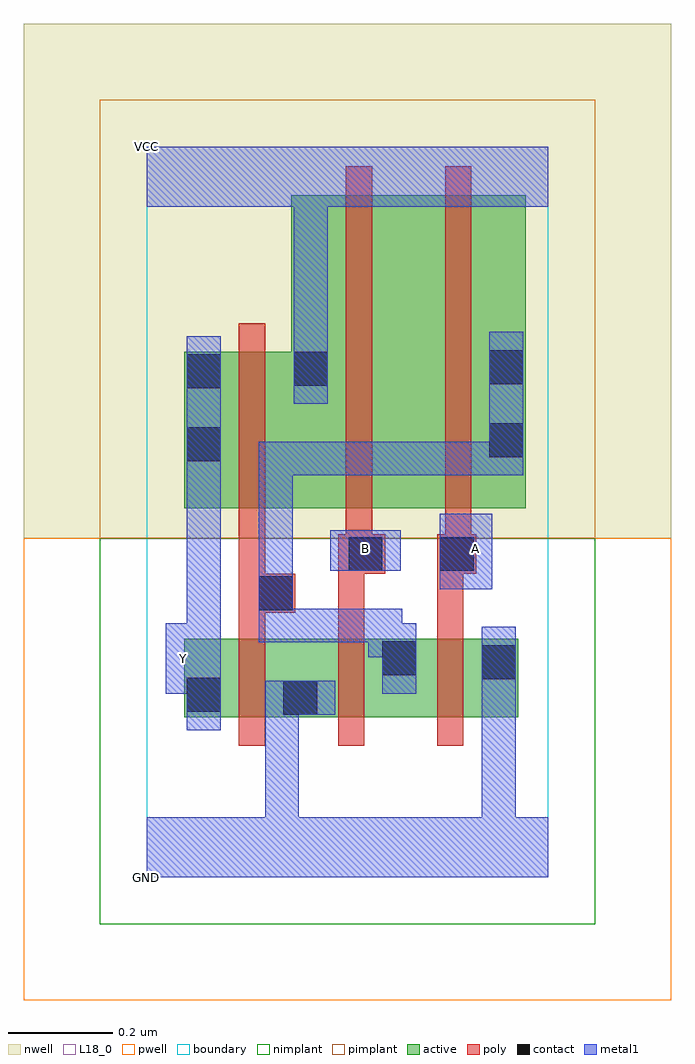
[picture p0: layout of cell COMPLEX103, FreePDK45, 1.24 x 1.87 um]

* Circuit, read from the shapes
.subckt COMPLEX103 A B GND VCC Y
M1 GND n1 Y VSUBS nfet w=0.15u l=0.05u
M2 n1 B GND VSUBS nfet w=0.15u l=0.05u
M3 GND A n1 VSUBS nfet w=0.15u l=0.05u
M4 VCC n1 Y n2 pfet w=0.3u l=0.05u
M5 n3 B VCC n2 pfet w=0.6u l=0.05u
M6 n1 A n3 n2 pfet w=0.6u l=0.05u
.ends

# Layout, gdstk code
import gdstk
lib = gdstk.Library(unit=1e-6, precision=1e-09)
def R(c, l, rs):  # rectangles x0, y0, x1, y1
    for r in rs: c.add(gdstk.rectangle(r[:2], r[2:], *l))
def A(c, l, x, y, w, h, nx, ny, dx, dy):  # array of equal rectangles
    R(c, l, [(x+i*dx, y+j*dy, x+i*dx+w, y+j*dy+h) for i in range(nx) for j in range(ny)])
active = (1, 0)
pwell = (2, 0)
nwell = (3, 0)
nimplant = (4, 0)
pimplant = (5, 0)
poly = (9, 0)
contact = (10, 0)
metal1 = (11, 0)
L18_0 = (18, 0)
boundary = (235, 0)

complex103 = lib.new_cell('COMPLEX103')
R(complex103, active, [(0.072,0.307,0.147,0.457), (0.072,0.307,0.332,0.457), (0.257,0.307,0.522,0.457), (0.257,0.307,0.332,0.397), (0.447,0.307,0.522,0.457), (0.447,0.307,0.712,0.457), (0.637,0.307,0.712,0.457), (0.072,0.707,0.352,1.007), (0.072,0.707,0.147,1.007), (0.277,0.707,0.502,1.307), (0.277,0.707,0.352,1.012), (0.502,0.707,0.727,1.307), (0.652,0.707,0.727,1.2)])
R(complex103, pwell, [(-0.235,-0.235,1.005,0.65)])
R(complex103, nwell, [(-0.235,0.65,1.005,1.635)])
R(complex103, nimplant, [(-0.09,-0.09,0.86,0.65)])
R(complex103, pimplant, [(-0.09,0.65,0.86,1.49)])
A(complex103, poly, 0.177, 0.252, 0.05, 0.26, 3, 1, 0.19, 0)
R(complex103, poly, [(0.177,0.462,0.227,0.557), (0.367,0.462,0.417,0.632), (0.557,0.462,0.607,0.632), (0.177,0.507,0.285,0.582), (0.177,0.532,0.227,0.702), (0.367,0.582,0.457,0.657), (0.557,0.582,0.632,0.657), (0.382,0.607,0.432,0.702), (0.572,0.607,0.622,0.702), (0.177,0.652,0.227,1.062), (0.382,0.652,0.432,1.362), (0.572,0.652,0.622,1.362)])
R(complex103, contact, [(0.262,0.312,0.327,0.377), (0.077,0.317,0.142,0.382), (0.642,0.38,0.707,0.445), (0.452,0.387,0.517,0.452), (0.215,0.512,0.28,0.577), (0.387,0.587,0.452,0.652), (0.562,0.587,0.627,0.652), (0.077,0.797,0.142,0.862), (0.657,0.805,0.722,0.87), (0.077,0.937,0.142,1.002), (0.282,0.942,0.347,1.007), (0.657,0.945,0.722,1.01)])
R(complex103, metal1, [(0,0,0.77,0.115), (0.227,0.05,0.292,0.115), (0.227,0.05,0.292,0.115), (0.227,0.05,0.292,0.377), (0.642,0.05,0.707,0.115), (0.642,0.05,0.707,0.115), (0.642,0.05,0.707,0.115), (0.642,0.05,0.707,0.115), (0.642,0.05,0.707,0.41), (0.077,0.282,0.142,0.417), (0.227,0.312,0.292,0.377), (0.227,0.312,0.292,0.377), (0.227,0.312,0.362,0.377), (0.642,0.345,0.707,0.48), (0.037,0.352,0.142,0.487), (0.077,0.352,0.142,0.417), (0.452,0.352,0.517,0.487), (0.077,0.422,0.142,0.827), (0.425,0.422,0.517,0.487), (0.425,0.422,0.49,0.515), (0.215,0.45,0.28,0.515), (0.215,0.45,0.49,0.515), (0.215,0.45,0.28,0.542), (0.215,0.477,0.28,0.542), (0.215,0.477,0.28,0.542), (0.215,0.477,0.28,0.612), (0.215,0.477,0.28,0.835), (0.562,0.552,0.662,0.697), (0.352,0.587,0.487,0.665), (0.077,0.762,0.142,1.037), (0.215,0.77,0.28,0.835), (0.215,0.77,0.417,0.835), (0.352,0.77,0.417,0.835), (0.352,0.77,0.417,0.835), (0.352,0.77,0.417,0.835), (0.352,0.77,0.722,0.835), (0.657,0.77,0.722,0.835), (0.657,0.77,0.722,0.835), (0.657,0.77,0.722,1.045), (0.282,0.907,0.347,1.042), (0.282,0.977,0.347,1.35), (0,1.285,0.77,1.4)])
R(complex103, L18_0, [(0,0,0.77,0.115), (0.227,0.05,0.292,0.115), (0.227,0.05,0.292,0.115), (0.227,0.05,0.292,0.377), (0.642,0.05,0.707,0.115), (0.642,0.05,0.707,0.115), (0.642,0.05,0.707,0.115), (0.642,0.05,0.707,0.115), (0.642,0.05,0.707,0.41), (0.077,0.282,0.142,0.417), (0.227,0.312,0.292,0.377), (0.227,0.312,0.292,0.377), (0.227,0.312,0.362,0.377), (0.642,0.345,0.707,0.48), (0.037,0.352,0.142,0.487), (0.077,0.352,0.142,0.417), (0.037,0.387,0.102,0.452), (0.077,0.422,0.142,0.827), (0.562,0.552,0.662,0.697), (0.352,0.587,0.487,0.665), (0.387,0.597,0.452,0.662), (0.597,0.597,0.662,0.662), (0.077,0.762,0.142,1.037), (0.282,0.907,0.347,1.042), (0.282,0.977,0.347,1.35), (0,1.285,0.77,1.4)])
R(complex103, boundary, [(0,0,0.77,1.4)])
complex103.add(gdstk.Label('A', (0.63,0.63), layer=11, texttype=0))
complex103.add(gdstk.Label('B', (0.42,0.63), layer=11, texttype=0))
complex103.add(gdstk.Label('Y', (0.07,0.42), layer=11, texttype=0))
complex103.add(gdstk.Label('VCC', (0,1.4), layer=11, texttype=0))
complex103.add(gdstk.Label('GND', (0,0), layer=11, texttype=0))

lib.write_gds('COMPLEX103.gds')
